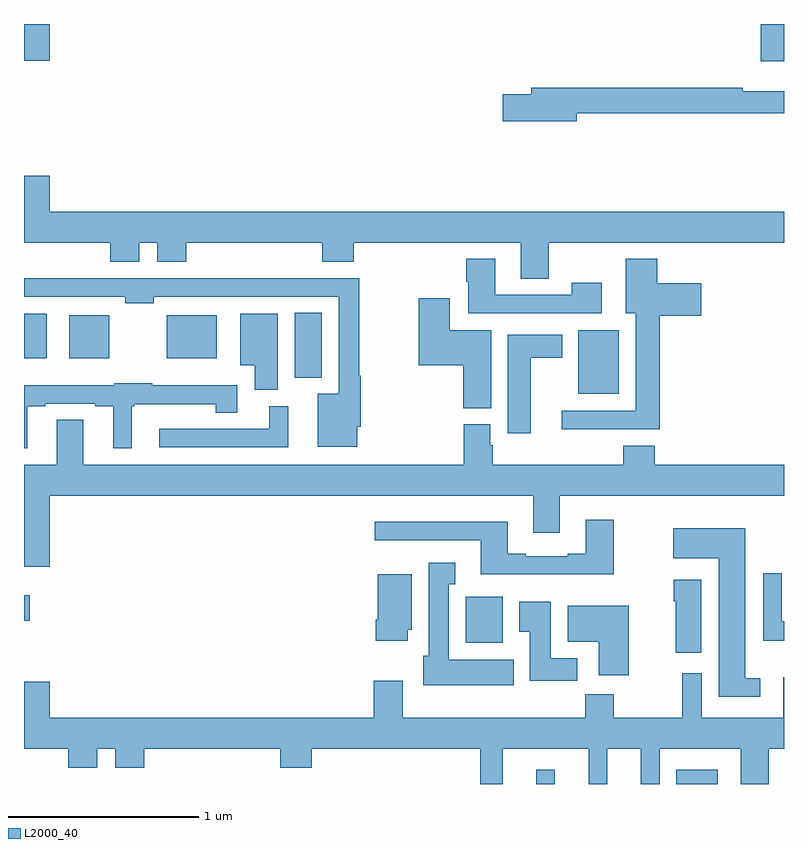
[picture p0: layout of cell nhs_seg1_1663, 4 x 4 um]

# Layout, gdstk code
import gdstk
lib = gdstk.Library(unit=1e-6, precision=1e-09)
def R(c, l, rs):  # rectangles x0, y0, x1, y1
    for r in rs: c.add(gdstk.rectangle(r[:2], r[2:], *l))
def P(c, l, *ps):  # polygons
    for p in ps: c.add(gdstk.Polygon(p, *l))
L2000_40 = (2000, 40)

nhs_seg1_1663 = lib.new_cell('nhs_seg1_1663')
R(nhs_seg1_1663, L2000_40, [(203.696,566.199,203.793,566.275), (204.434,566.199,204.652,566.274), (203.324,566.942,203.521,567.184), (201,567.059,201.031,567.193), (203.918,568.253,204.13,568.588), (202.424,568.337,202.567,568.679), (201,568.439,201.121,568.675), (201.239,568.439,201.448,568.666), (201.752,568.439,202.015,568.666), (204.878,570.002,205,570.199), (201,570.006,201.136,570.199)])
P(nhs_seg1_1663, L2000_40, [(203.908,569.728),(205,569.728),(205,569.845),(204.782,569.845),(204.782,569.864),(203.669,569.864),(203.669,569.828),(203.52,569.828),(203.52,569.686),(203.908,569.686)],
  [(203.763,569.048),(205,569.048),(205,569.212),(201.136,569.212),(201.136,569.401),(201,569.401),(201,569.048),(201.455,569.048),(201.455,568.949),(201.607,568.949),(201.607,569.048),(201.701,569.048),(201.701,568.949),(201.854,568.949),(201.854,569.048),(202.571,569.048),(202.571,568.949),(202.736,568.949),(202.736,569.048),(203.615,569.048),(203.615,568.858),(203.763,568.858)],
  [(204.347,568.664),(204.565,568.664),(204.565,568.834),(204.334,568.834),(204.334,568.963),(204.167,568.963),(204.167,568.676),(204.221,568.676),(204.221,568.164),(203.829,568.164),(203.829,568.067),(204.347,568.067)],
  [(204.04,568.837),(203.884,568.837),(203.884,568.773),(203.479,568.773),(203.479,568.963),(203.327,568.963),(203.327,568.843),(203.339,568.843),(203.339,568.677),(204.04,568.677)],
  [(202.753,568.078),(202.772,568.078),(202.772,568.348),(202.765,568.348),(202.765,568.86),(202.487,568.86),(202.487,568.862),(201.937,568.862),(201.937,568.86),(201.434,568.86),(201.434,568.862),(201,568.862),(201,568.764),(201.534,568.764),(201.534,568.729),(201.684,568.729),(201.684,568.764),(202.656,568.764),(202.656,568.252),(202.547,568.252),(202.547,567.974),(202.753,567.974)],
  [(203.458,568.588),(203.242,568.588),(203.242,568.756),(203.077,568.756),(203.077,568.403),(203.312,568.403),(203.312,568.177),(203.458,568.177)],
  [(202.336,568.675),(202.139,568.675),(202.139,568.403),(202.214,568.403),(202.214,568.273),(202.336,568.273)],
  [(203.668,568.442),(203.833,568.442),(203.833,568.564),(203.546,568.564),(203.546,568.044),(203.668,568.044)],
  [(201.016,568.188),(201.112,568.188),(201.112,568.2),(201.374,568.2),(201.374,568.188),(201.47,568.188),(201.47,567.965),(201.568,567.965),(201.568,568.188),(201.58,568.188),(201.58,568.199),(202.01,568.199),(202.01,568.153),(202.123,568.153),(202.123,568.297),(201.674,568.297),(201.674,568.309),(201.474,568.309),(201.474,568.297),(201,568.297),(201,567.965),(201.016,567.965)],
  [(202.39,568.188),(202.292,568.188),(202.292,568.068),(201.711,568.068),(201.711,567.972),(202.39,567.972)],
  [(201.136,567.716),(203.681,567.716),(203.681,567.522),(203.821,567.522),(203.821,567.716),(205,567.716),(205,567.88),(204.32,567.88),(204.32,567.979),(204.155,567.979),(204.155,567.88),(203.468,567.88),(203.468,567.981),(203.455,567.981),(203.455,568.092),(203.315,568.092),(203.315,567.88),(201.313,567.88),(201.313,568.115),(201.173,568.115),(201.173,567.88),(201,567.88),(201,567.342),(201.136,567.342)],
  [(204.105,567.589),(203.957,567.589),(203.957,567.412),(203.861,567.412),(203.861,567.399),(203.641,567.399),(203.641,567.412),(203.545,567.412),(203.545,567.58),(202.845,567.58),(202.845,567.483),(203.405,567.483),(203.405,567.302),(204.105,567.302)],
  [(204.874,566.756),(204.796,566.756),(204.796,567.544),(204.416,567.544),(204.416,567.386),(204.656,567.386),(204.656,566.658),(204.874,566.658)],
  [(203.578,566.854),(203.236,566.854),(203.236,567.251),(203.269,567.251),(203.269,567.364),(203.129,567.364),(203.129,566.874),(203.102,566.874),(203.102,566.72),(203.578,566.72)],
  [(205,567.055),(204.987,567.055),(204.987,567.307),(204.891,567.307),(204.891,566.954),(205,566.954)],
  [(203.02,567.012),(203.041,567.012),(203.041,567.304),(202.862,567.304),(202.862,567.064),(202.85,567.064),(202.85,566.952),(203.02,566.952)],
  [(204.565,567.274),(204.419,567.274),(204.419,567.161),(204.431,567.161),(204.431,566.889),(204.565,566.889)],
  [(203.912,566.86),(203.773,566.86),(203.773,567.157),(203.606,567.157),(203.606,567.001),(203.663,567.001),(203.663,566.742),(203.912,566.742)],
  [(204.184,567.136),(203.861,567.136),(203.861,566.948),(204.026,566.948),(204.026,566.772),(204.184,566.772)],
  [(203.519,566.384),(203.972,566.384),(203.972,566.199),(204.07,566.199),(204.07,566.384),(204.245,566.384),(204.245,566.199),(204.346,566.199),(204.346,566.384),(204.773,566.384),(204.773,566.199),(204.921,566.199),(204.921,566.384),(205,566.384),(205,566.761),(204.995,566.761),(204.995,566.548),(204.568,566.548),(204.568,566.782),(204.465,566.782),(204.465,566.548),(204.105,566.548),(204.105,566.672),(203.953,566.672),(203.953,566.548),(202.993,566.548),(202.993,566.743),(202.841,566.743),(202.841,566.548),(201.136,566.548),(201.136,566.737),(201,566.737),(201,566.384),(201.233,566.384),(201.233,566.285),(201.385,566.285),(201.385,566.384),(201.479,566.384),(201.479,566.285),(201.632,566.285),(201.632,566.384),(202.349,566.384),(202.349,566.285),(202.514,566.285),(202.514,566.384),(203.401,566.384),(203.401,566.199),(203.519,566.199)])

lib.write_gds('nhs_seg1_1663.gds')
